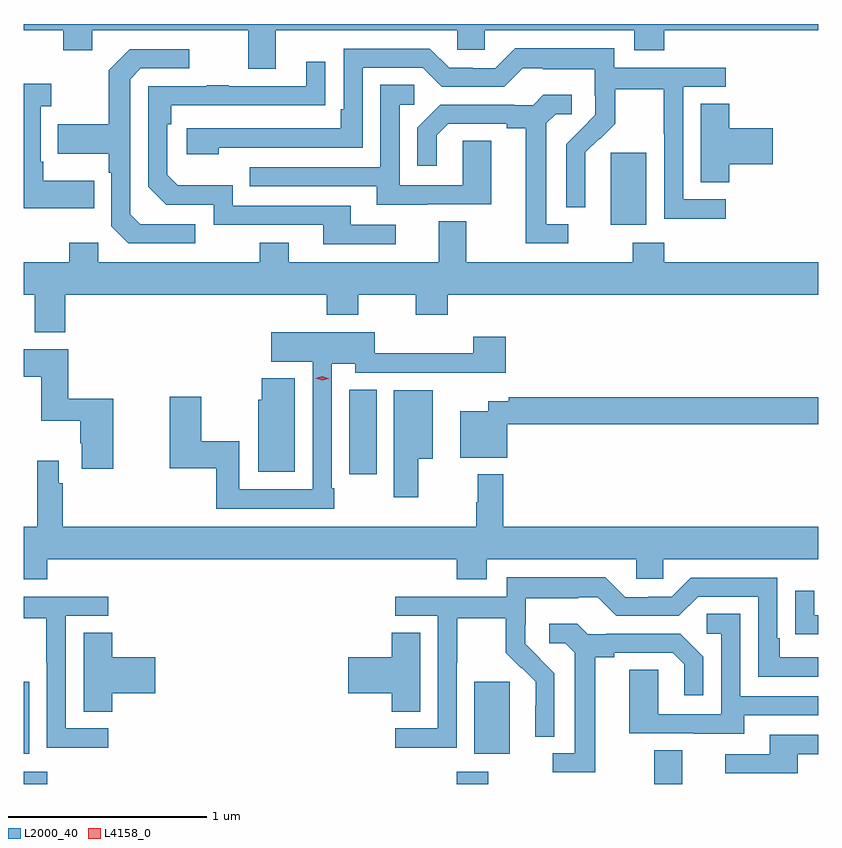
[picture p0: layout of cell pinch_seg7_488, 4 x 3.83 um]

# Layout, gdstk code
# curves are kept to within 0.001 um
import gdstk
lib = gdstk.Library(unit=1e-6, precision=1e-09)
def R(c, l, rs):  # rectangles x0, y0, x1, y1
    for r in rs: c.add(gdstk.rectangle(r[:2], r[2:], *l))
def P(c, l, *ps):  # polygons
    for p in ps: c.add(gdstk.Polygon(p, *l))
L2000_40 = (2000, 40)
L4158_0 = (4158, 0)

pinch_seg7_488 = lib.new_cell('pinch_seg7_488')
R(pinch_seg7_488, L2000_40, [(230.098,1078.073,230.216,1078.135), (232.277,1078.073,232.437,1078.135), (233.273,1078.073,233.413,1078.244), (230.098,1078.226,230.125,1078.587), (232.367,1078.226,232.546,1078.587), (231.737,1079.634,231.874,1080.059), (233.054,1080.89,233.233,1081.251)])
P(pinch_seg7_488, L2000_40, [(231.367,1081.868),(232.281,1081.868),(232.281,1081.77),(232.419,1081.77),(232.419,1081.868),(233.171,1081.868),(233.171,1081.769),(233.324,1081.769),(233.324,1081.868),(234.098,1081.868),(234.098,1081.9),(230.098,1081.9),(230.098,1081.868),(230.296,1081.868),(230.296,1081.769),(230.443,1081.769),(230.443,1081.868),(231.227,1081.868),(231.227,1081.674),(231.367,1081.674)],
  [(233.632,1081.017),(233.418,1081.017),(233.418,1081.584),(233.632,1081.584),(233.632,1081.68),(233.07,1081.68),(233.07,1081.777),(232.573,1081.777),(232.473,1081.677),(232.358,1081.677),(232.358,1081.68),(232.239,1081.68),(232.143,1081.776),(231.708,1081.776),(231.708,1081.471),(231.695,1081.471),(231.695,1081.374),(230.919,1081.374),(230.919,1081.244),(231.08,1081.244),(231.08,1081.278),(231.804,1081.278),(231.804,1081.68),(232.107,1081.68),(232.203,1081.584),(232.518,1081.584),(232.611,1081.677),(232.711,1081.677),(232.711,1081.673),(232.974,1081.673),(232.974,1081.539),(232.976,1081.539),(232.976,1081.442),(232.83,1081.294),(232.83,1080.976),(232.926,1080.976),(232.925,1081.253),(232.995,1081.323),(232.998,1081.32),(233.075,1081.397),(233.075,1081.572),(233.32,1081.572),(233.32,1081.348),(233.322,1081.348),(233.322,1080.919),(233.632,1080.919)],
  [(230.962,1080.891),(230.685,1080.891),(230.634,1080.942),(230.634,1081.623),(230.688,1081.677),(230.932,1081.677),(230.932,1081.773),(230.631,1081.773),(230.526,1081.667),(230.526,1081.395),(230.269,1081.395),(230.269,1081.247),(230.526,1081.247),(230.526,1081.151),(230.538,1081.151),(230.538,1080.882),(230.625,1080.795),(230.962,1080.795)],
  [(231.97,1080.888),(231.745,1080.888),(231.745,1080.984),(231.15,1080.984),(231.15,1081.087),(230.873,1081.087),(230.82,1081.14),(230.82,1081.394),(230.84,1081.394),(230.84,1081.491),(231.617,1081.492),(231.617,1081.711),(231.521,1081.711),(231.521,1081.587),(231.131,1081.587),(231.131,1081.592),(231.019,1081.592),(231.019,1081.587),(230.724,1081.587),(230.724,1081.08),(230.814,1080.99),(231.054,1080.99),(231.054,1080.888),(231.605,1080.888),(231.605,1080.792),(231.97,1080.792)],
  [(230.453,1081.111),(230.197,1081.111),(230.197,1081.207),(230.184,1081.207),(230.184,1081.487),(230.236,1081.487),(230.236,1081.6),(230.098,1081.6),(230.098,1080.971),(230.453,1080.971)],
  [(232.129,1080.993),(232.453,1080.993),(232.453,1081.313),(232.308,1081.313),(232.308,1081.089),(231.99,1081.089),(231.99,1081.494),(232.063,1081.494),(232.063,1081.595),(231.894,1081.595),(231.894,1081.179),(231.235,1081.179),(231.235,1081.083),(231.875,1081.083),(231.875,1080.989),(232.129,1080.989)],
  [(232.84,1080.891),(232.729,1080.891),(232.729,1081.399),(232.776,1081.446),(232.858,1081.446),(232.858,1081.543),(232.714,1081.543),(232.662,1081.491),(232.568,1081.491),(232.568,1081.494),(232.196,1081.494),(232.08,1081.378),(232.08,1081.185),(232.177,1081.185),(232.177,1081.341),(232.234,1081.398),(232.529,1081.398),(232.529,1081.376),(232.625,1081.376),(232.625,1080.795),(232.84,1080.795)],
  [(233.651,1081.193),(233.869,1081.193),(233.869,1081.376),(233.651,1081.376),(233.651,1081.499),(233.507,1081.499),(233.507,1081.102),(233.651,1081.102)],
  [(230.306,1080.536),(231.623,1080.536),(231.623,1080.437),(231.783,1080.437),(231.783,1080.536),(232.072,1080.536),(232.072,1080.437),(232.232,1080.437),(232.232,1080.536),(234.098,1080.536),(234.098,1080.7),(233.324,1080.7),(233.324,1080.799),(233.164,1080.799),(233.164,1080.7),(232.327,1080.7),(232.327,1080.908),(232.187,1080.908),(232.187,1080.7),(231.433,1080.7),(231.433,1080.799),(231.286,1080.799),(231.286,1080.7),(230.472,1080.7),(230.472,1080.799),(230.326,1080.799),(230.326,1080.7),(230.098,1080.7),(230.098,1080.536),(230.153,1080.536),(230.153,1080.347),(230.306,1080.347)],
  [(231.661,1079.563),(231.648,1079.563),(231.648,1080.188),(231.768,1080.188),(231.768,1080.144),(232.277,1080.144),(232.277,1080.143),(232.526,1080.143),(232.526,1080.325),(232.361,1080.325),(232.361,1080.242),(231.864,1080.242),(231.864,1080.349),(231.345,1080.349),(231.345,1080.2),(231.552,1080.2),(231.552,1079.556),(231.183,1079.556),(231.183,1079.798),(230.992,1079.798),(230.992,1080.022),(230.834,1080.022),(230.834,1079.662),(231.067,1079.662),(231.067,1079.46),(231.661,1079.46)],
  [(230.548,1080.013),(230.321,1080.013),(230.321,1080.262),(230.098,1080.262),(230.098,1080.124),(230.186,1080.124),(230.186,1079.903),(230.383,1079.903),(230.383,1079.788),(230.39,1079.788),(230.39,1079.661),(230.548,1079.661)],
  [(231.463,1080.115),(231.296,1080.115),(231.296,1080.009),(231.278,1080.009),(231.278,1079.645),(231.463,1079.645)],
  [(232.084,1079.711),(232.156,1079.711),(232.156,1080.055),(231.962,1080.055),(231.962,1079.517),(232.084,1079.517)],
  [(232.533,1079.884),(234.098,1079.884),(234.098,1080.02),(232.54,1080.02),(232.54,1080.001),(232.437,1080.001),(232.437,1079.95),(232.295,1079.95),(232.295,1079.717),(232.533,1079.717)],
  [(230.216,1079.204),(232.277,1079.204),(232.277,1079.105),(232.429,1079.105),(232.429,1079.204),(233.181,1079.204),(233.181,1079.106),(233.319,1079.106),(233.319,1079.204),(234.098,1079.204),(234.098,1079.368),(232.511,1079.368),(232.511,1079.632),(232.383,1079.632),(232.383,1079.492),(232.375,1079.492),(232.375,1079.368),(230.294,1079.368),(230.294,1079.588),(230.274,1079.588),(230.274,1079.701),(230.166,1079.701),(230.166,1079.368),(230.098,1079.368),(230.098,1079.105),(230.216,1079.105)],
  [(232.278,1078.684),(232.281,1078.684),(232.281,1078.908),(232.525,1078.908),(232.525,1078.733),(232.602,1078.656),(232.605,1078.659),(232.676,1078.589),(232.676,1078.466),(232.674,1078.466),(232.674,1078.312),(232.77,1078.312),(232.77,1078.63),(232.624,1078.778),(232.624,1078.875),(232.626,1078.875),(232.626,1079.009),(232.889,1079.009),(232.889,1079.013),(232.989,1079.013),(233.082,1078.92),(233.397,1078.92),(233.493,1079.016),(233.796,1079.016),(233.796,1078.614),(234.098,1078.614),(234.098,1078.71),(233.905,1078.71),(233.905,1078.807),(233.892,1078.807),(233.892,1079.112),(233.457,1079.112),(233.361,1079.016),(233.243,1079.016),(233.243,1079.013),(233.127,1079.013),(233.027,1079.113),(232.53,1079.113),(232.53,1079.016),(231.969,1079.016),(231.969,1078.92),(232.182,1078.92),(232.182,1078.353),(231.969,1078.353),(231.969,1078.255),(232.278,1078.255)],
  [(234.098,1078.923),(234.079,1078.923),(234.079,1079.047),(233.983,1079.047),(233.983,1078.828),(234.085,1078.828),(234.085,1078.827),(234.098,1078.827)],
  [(230.524,1078.353),(230.31,1078.353),(230.31,1078.92),(230.524,1078.92),(230.524,1079.016),(230.098,1079.016),(230.098,1078.908),(230.212,1078.908),(230.212,1078.684),(230.214,1078.684),(230.214,1078.255),(230.524,1078.255)],
  [(233.725,1078.419),(234.098,1078.419),(234.098,1078.515),(233.706,1078.515),(233.706,1078.931),(233.538,1078.931),(233.538,1078.83),(233.61,1078.83),(233.61,1078.425),(233.292,1078.425),(233.292,1078.649),(233.147,1078.649),(233.147,1078.329),(233.471,1078.329),(233.471,1078.325),(233.725,1078.325)],
  [(232.975,1078.712),(233.071,1078.712),(233.071,1078.734),(233.366,1078.734),(233.423,1078.677),(233.423,1078.521),(233.52,1078.521),(233.52,1078.714),(233.404,1078.83),(233.032,1078.83),(233.032,1078.827),(232.938,1078.827),(232.886,1078.879),(232.743,1078.879),(232.743,1078.782),(232.824,1078.782),(232.871,1078.735),(232.871,1078.227),(232.761,1078.227),(232.761,1078.131),(232.975,1078.131)],
  [(232.093,1078.835),(231.95,1078.835),(231.95,1078.712),(231.732,1078.712),(231.732,1078.529),(231.95,1078.529),(231.95,1078.438),(232.093,1078.438)],
  [(230.543,1078.529),(230.761,1078.529),(230.761,1078.712),(230.543,1078.712),(230.543,1078.835),(230.399,1078.835),(230.399,1078.438),(230.543,1078.438)],
  [(233.995,1078.224),(234.098,1078.224),(234.098,1078.32),(233.855,1078.32),(233.855,1078.224),(233.631,1078.224),(233.631,1078.128),(233.995,1078.128)])
P(pinch_seg7_488, L4158_0, [(231.6,1080.105),(231.566,1080.116),(231.566,1080.116),(231.566,1080.116),(231.601,1080.125),(231.636,1080.114),(231.636,1080.114),(231.636,1080.113)])

lib.write_gds('pinch_seg7_488.gds')
